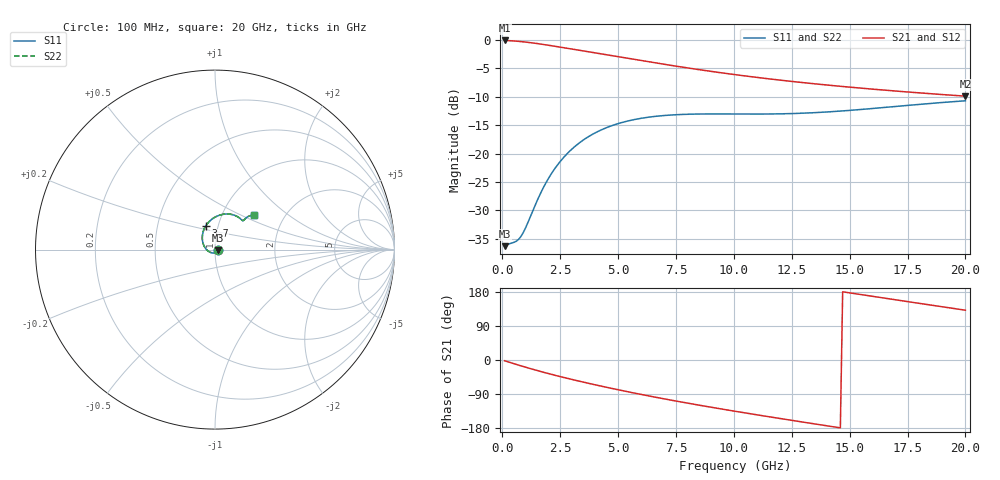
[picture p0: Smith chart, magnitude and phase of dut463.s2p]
! Touchstone file exported from HFSS 2024.1.0
!  File:  C:/UserFiles/LocalFiles/RDL_TSV_Batchsim/temp_RDL_TSV_463_1779728115.aedt
!  Generated:  01:07:18 AM May 26, 2026
!  Design:  RDL_TSV
!  Project:  temp_RDL_TSV_463_1779728115
!  Setup:  Setup1
!  Solution:  Sweep
! Variables:
!  dtsv = 10.07um
!  hbump = 3um
!  htsv = 93.53um
!  ldown = 228.84um
!  lrdl = 622.86um
!  p = 40
!  p1 = 42.89um
!  rhole = 10um
!  subl = 3177.96um
!  t = 450um
!  tdown = 4.71um
!  trdl = 3.04um
!  viad = 10um
!  wdown = 22.28um
!  wrdl = 24.04um
!  xbump = 18um
# GHz S MA R 50.000000
! Terminal data exported
! Port[1] = TM1_1_T1
! Port[2] = TM1_4_T1
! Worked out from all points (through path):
!   200 points, 100 MHz to 20 GHz, reference 50 ohm
!   highest |S21| = -0.14 dB at 100 MHz (marker M1); lowest = -9.9 dB at 20 GHz (marker M2)
!   group delay of S21, straight-line fit = 30.1 ps
!   lowest |S11| = -36.3 dB at 100 MHz (marker M3), VSWR 1.03, Z = 51.5 - j0.216 ohm
!   |S11| at or under -10 dB: start of sweep to end of sweep
!   |S22| runs from -36.3 to -10.7 dB; largest |S21 - S12| = 2.1e-14
!   S11 on the Smith chart (normalised r, x): 100 MHz: 1.03, -0.00; 3.7 GHz: 0.87, +0.23; 20 GHz: 1.41, +0.59
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0.1  0.01536 -7.8  0.9841 -2.0  0.9841 -2.0  0.01536 -7.8
! Gamma 0 0 0 0
! Port Impedance 50 0 50 0
0.6  0.01695 -66.5  0.9705 -11.6  0.9705 -11.6  0.01696 -66.5
0.8  0.01862 -94.5  0.9624 -15.3  0.9624 -15.3  0.01863 -94.5
1  0.02212 -120.5  0.953 -18.9  0.953 -18.9  0.02214 -120.5
1.7  0.04687 -179.7  0.9124 -31.1  0.9124 -31.1  0.0469 -179.7
2.1  0.06554 160.4  0.8865 -37.6  0.8865 -37.6  0.06559 160.4
2.5  0.08511 144.9  0.8602 -43.8  0.8602 -43.8  0.08517 145.0
3  0.1092 129.4  0.8278 -51.2  0.8278 -51.2  0.1092 129.5
3.5  0.1315 116.7  0.7962 -58.4  0.7962 -58.4  0.1316 116.7
3.7  0.1398 112.2  0.7839 -61.2  0.7839 -61.2  0.1399 112.2
4.4  0.1655 98.5  0.7422 -70.7  0.7422 -70.7  0.1656 98.5
5.1  0.1857 87.2  0.7026 -79.8  0.7026 -79.8  0.1858 87.2
6  0.2039 75.5  0.6552 -90.9  0.6552 -90.9  0.2041 75.5
6.8  0.214 67.2  0.6165 -100.4  0.6165 -100.4  0.2142 67.3
8.4  0.2222 55.6  0.5491 -118.1  0.5491 -118.1  0.2224 55.6
10.1  0.2224 48.8  0.4914 -135.8  0.4914 -135.8  0.2226 48.9
11.7  0.2226 46.2  0.4482 -151.6  0.4482 -151.6  0.2228 46.3
13.4  0.228 45.7  0.4112 -167.8  0.4112 -167.8  0.2283 45.7
15  0.2392 45.8  0.3828 177.2  0.3828 177.2  0.2395 45.8
16.7  0.2559 45.2  0.3577 161.5  0.3577 161.5  0.2563 45.2
18.4  0.2744 43.7  0.3364 145.9  0.3364 145.9  0.2748 43.7
20  0.2906 41.5  0.3191 131.4  0.3191 131.4  0.291 41.6
